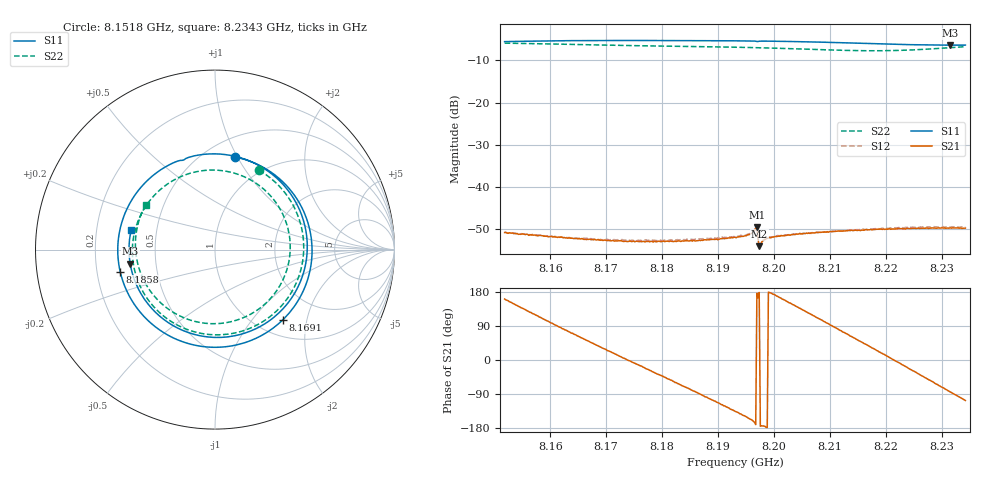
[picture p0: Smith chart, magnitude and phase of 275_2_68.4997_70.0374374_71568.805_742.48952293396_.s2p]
#  HZ  S  RI  R  50.00
! Rohde & Schwarz Vector Network Analyzer
! Rohde-Schwarz,ZNB20-2Port,1311601062101988,3.16
! Created: UTC 3/20/2024, 5:00:55 PM
! freq[Hz]  re:S11  im:S11  re:S21  im:S21  re:S12  im:S12  re:S22  im:S22
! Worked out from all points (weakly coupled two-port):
!   401 points, 8.1518 GHz to 8.2343 GHz, reference 50 ohm
!   highest |S21| = -49.60 dB at 8.197 GHz (marker M1); lowest = -54.1 dB at 8.1974 GHz (marker M2)
!   lowest |S11| = -6.4 dB at 8.2316 GHz (marker M3), VSWR 2.84, Z = 17.7 - j3.61 ohm
!   |S11| at or under -10 dB: nowhere
!   |S22| runs from -7.7 to -5.9 dB; largest |S21 - S12| = 0.00027
!   S11 on the Smith chart (normalised r, x): 8.1518 GHz: 0.68, +0.97; 8.1691 GHz: 1.30, -1.45; 8.1858 GHz: 0.30, -0.10; 8.2343 GHz: 0.36, +0.10
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8.151838e9  0.1092 0.5159  -0.00272 0.000938  -0.00269 0.000993  0.2449 0.4424
8.158843e9  0.4772 0.2468  -0.000791 0.00248  -0.000819 0.00251  0.4874 0.0963
8.162345e9  0.5401 0.0219  0.00034 0.00247  0.000347 0.00247  0.4779 -0.1138
8.165642e9  0.5062 -0.1955  0.00128 0.00208  0.00125 0.00209  0.3913 -0.2884
8.169144e9  0.3776 -0.3917  0.00196 0.00128  0.00199 0.00129  0.2351 -0.4194
8.174295e9  0.0671 -0.5404  0.00228 -0.000104  0.00229 -0.000143  -0.0524 -0.4708
8.179446e9  -0.2735 -0.4701  0.00178 -0.00141  0.0018 -0.00148  -0.312 -0.3481
8.185833e9  -0.5284 -0.1225  0.000288 -0.00227  0.000241 -0.00237  -0.46 -0.0329
8.189336e9  -0.5277 0.1202  -0.000742 -0.00226  -0.000816 -0.00234  -0.4292 0.158
8.193044e9  -0.4104 0.3497  -0.0018 -0.00178  -0.00187 -0.00176  -0.3133 0.3267
8.196547e9  -0.2097 0.4925  -0.00293 -0.000801  -0.00306 -0.000676  -0.1443 0.4236
8.196959e9  -0.1806 0.4976  -0.00331 0.000211  -0.00339 0.000342  -0.1219 0.4297
8.197371e9  -0.1616 0.508  -0.00198 6.15e-05  -0.00199 0.000138  -0.0995 0.4348
8.201903e9  0.156 0.5072  -0.00244 0.00097  -0.00246 0.0011  0.1537 0.4098
8.206848e9  0.4294 0.2984  -0.00138 0.00249  -0.00133 0.00256  0.3651 0.2218
8.210145e9  0.5102 0.0796  -9.34e-05 0.00294  -4.16e-05 0.00292  0.4188 0.0334
8.213441e9  0.4854 -0.1534  0.00126 0.00277  0.00134 0.00276  0.3807 -0.1638
8.217356e9  0.3239 -0.3806  0.00261 0.00173  0.00268 0.00168  0.2187 -0.348
8.220652e9  0.1094 -0.48  0.00318 0.000367  0.00323 0.00026  0.0145 -0.4122
8.225597e9  -0.2362 -0.422  0.00266 -0.00182  0.00268 -0.00199  -0.294 -0.3044
8.231572e9  -0.4725 -0.0784  0.000332 -0.00325  0.000175 -0.00331  -0.4418 0.0697
8.234251e9  -0.4664 0.1117  -0.000941 -0.0031  -0.00116 -0.00313  -0.3865 0.2491
